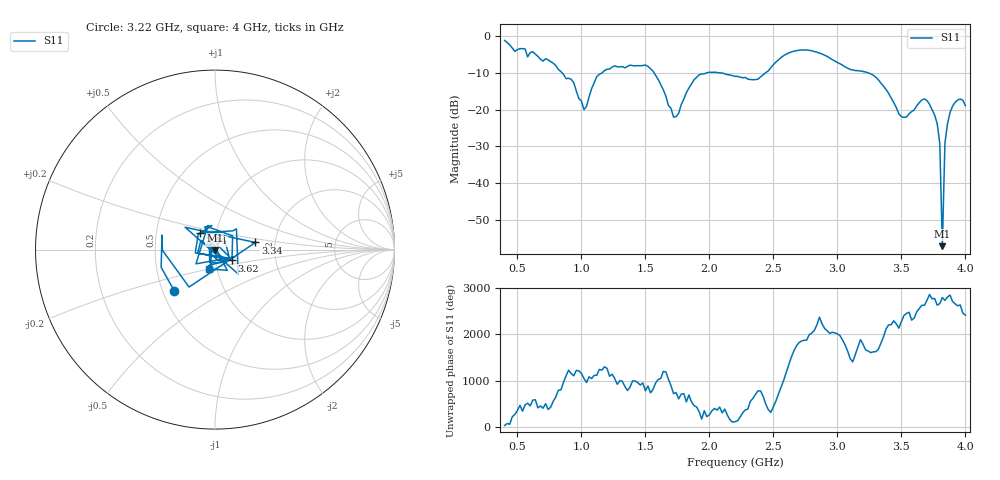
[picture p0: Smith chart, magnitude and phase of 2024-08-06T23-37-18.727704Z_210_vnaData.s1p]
!Created with skrf (http://scikit-rf.org).
# Hz S RI R 50.0
!freq ReS11 ImS11
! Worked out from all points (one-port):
!   181 points, 400 MHz to 4 GHz, reference 50 ohm
!   lowest |S11| = -57.2 dB at 3.82 GHz (marker M1), VSWR 1.00, Z = 50 - j0.137 ohm
!   |S11| at or under -10 dB: 1.568 GHz to 1.982 GHz (414.1 MHz wide, 23.3 % of centre); 2.076 GHz to 2.439 GHz (363.5 MHz wide, 16.1 % of centre); 3.239 GHz to end of sweep (the widest 3 of 4)
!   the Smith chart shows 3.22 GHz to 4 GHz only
!   S11 on the Smith chart (normalised r, x): 3.22 GHz: 0.57, -0.30; 3.34 GHz: 1.57, +0.13; 3.44 GHz: 0.83, +0.16; 3.62 GHz: 1.20, -0.15; 4 GHz: 0.92, -0.20
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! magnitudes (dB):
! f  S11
! 400 MHz  -1.2
! 860 MHz  -10.4
! 940 MHz  -12.7
! 1.02 GHz  -20.0
! 1.12 GHz  -11.0
! 1.3 GHz  -8.4
! 1.52 GHz  -8.3
! 1.72 GHz  -22.1
! 1.76 GHz  -21.0
! 1.92 GHz  -10.5
! 2.2 GHz  -11.0
! 2.38 GHz  -11.7
! 2.66 GHz  -4.1
! 3.1 GHz  -9.1
! 3.22 GHz  -9.8
! 3.34 GHz  -12.8
! 3.44 GHz  -18.1
! 3.5 GHz  -22.0
! 3.56 GHz  -21.2
! 3.62 GHz  -19.0
! 3.7 GHz  -17.6
! 3.78 GHz  -23.9
! 3.8 GHz  -29.3
! 3.82 GHz  -57.2
! 3.84 GHz  -29.2
! 3.86 GHz  -23.9
! 3.92 GHz  -18.1
! 4 GHz  -18.9
